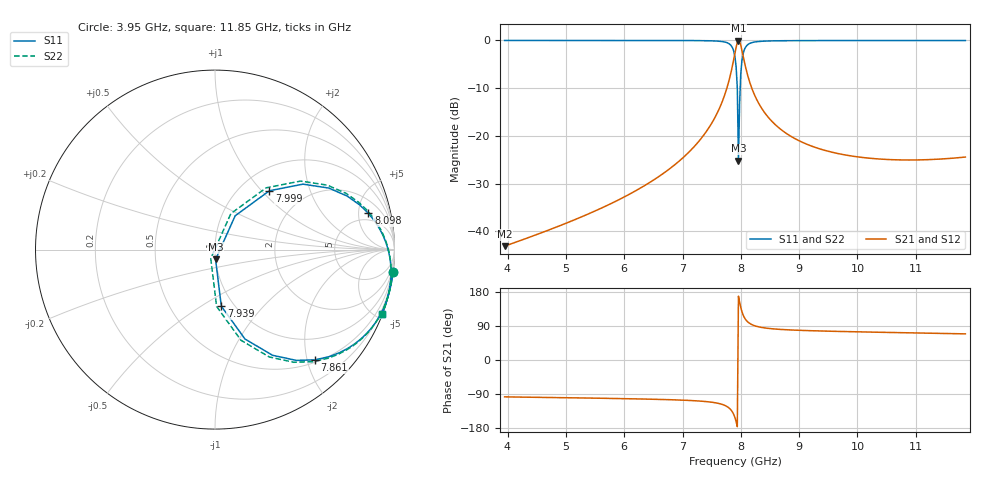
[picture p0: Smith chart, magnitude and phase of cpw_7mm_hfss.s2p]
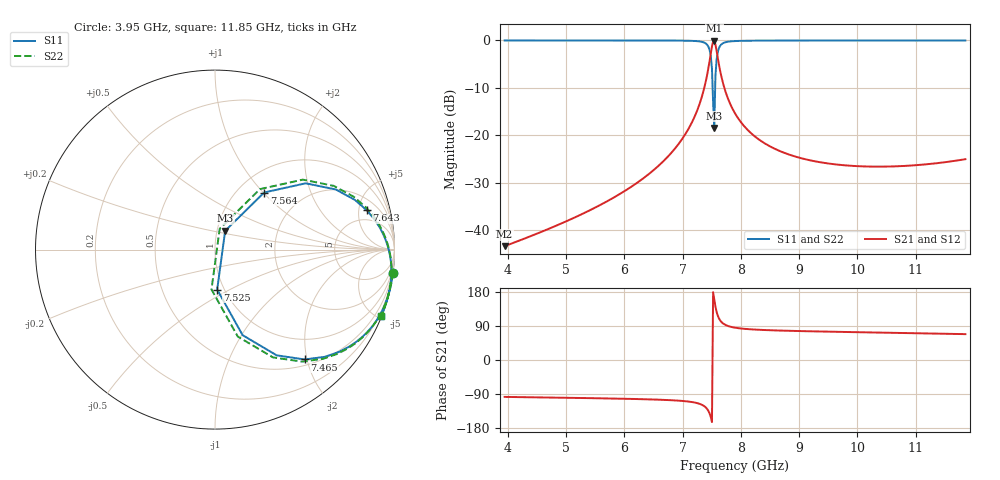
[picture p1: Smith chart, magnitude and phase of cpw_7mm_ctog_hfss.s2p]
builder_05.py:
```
#!/usr/bin/env python3
"""Build, execute, and install tutorials/05_compare_to_simulations.ipynb.

Tutorial 5: "Comparing a Circuit Model to a Full-Wave Simulation". This version
loads a **real HFSS export** (results/cpw_7mm_hfss.s2p) — a 7 mm CPW resonator
with two 50 fF coupling capacitors, no line-to-ground capacitance, and two 50 Ohm
ports — and compares it against the CPW ground-truth network and the Optimized
lumped model. It also draws the device with the schematics feature. A closing
section repeats the identical comparison across four more HFSS exports of the
same resonator (grounds included, stronger coupling, asymmetric coupling,
weaker asymmetric coupling) and condenses everything into one summary table and
a linewidth parity plot.

Runtime note: five OptimizedFits plus the network builds — the whole notebook
executes in about a minute.
"""
from __future__ import annotations

import os
import shutil
import sys
from pathlib import Path

import nbformat
from nbclient import NotebookClient
from nbformat.v4 import new_code_cell, new_markdown_cell, new_notebook

REPO = Path(__file__).resolve().parents[1]
TUT = REPO / "tutorials"
DOCS = REPO / "docs" / "tutorials"
BASENAME = "05_compare_to_simulations.ipynb"


def md(source: str):
    return new_markdown_cell(source.strip("\n") + "\n")


def code(source: str):
    return new_code_cell(source.strip("\n") + "\n")


CELLS = [
    md(r"""
# Tutorial 5: Comparing a Circuit Model to a Full-Wave Simulation

Circuit-level models used in **simpleLOMs** can reliably reproduce what a full-wave EM solver actually gives you.

In FEM simulations, a **Touchstone** file (eg. `.s2p`) is generated containing the S-parameters of a device for a range of frequencies. This tutorial shows you how to run comparisons of circuit-level models to touchstone models using a touchstone file generated using HFSS. 

In this tutorial you will learn how to 

1. read the Touchstone reference with `scikit-rf`,
2. draw the device with the `schematics` feature (this requires knowledge of what geometry you simulated)
3. build the distributed circuit-level model using CPWs, and fit the **Optimized** lumped model,
4. overlay all three responses and quantify the residual,
5. repeat the identical comparison across a catalog of five HFSS exports spanning
   weak to very strong coupling, symmetric and asymmetric.
"""),

    code(r"""
import warnings
warnings.filterwarnings("ignore")

import numpy as np
import matplotlib.pyplot as plt
import skrf as rf

import simpleLOMs as sl

sl.apply_style()
"""),

    md(r"""
The reference file `results/cpw_7mm_hfss.s2p` was exported from HFSS for a
**7 mm CPW resonator** with a **50 fF** coupling capacitor at each end
($C_\mathrm{tog}=0$), driven through **two 50 Ω ports**. We first need to give `simpleLOMs` these same parameters, so the FEM curve and the circuit model describe the same device.
"""),

    code(r"""
# Device parameters
cpw  = sl.CPWParams(ep_r=11.45)          # ultracold silicon
d    = 7e-3                           # 7 mm resonator line
Cc   = 50e-15                         # 0.05 pF coupler on each port
Ctog = 0.0                            # no line-to-ground capacitance
"""),

    md(r"""
## 1. Read the Touchstone reference

`simpleLOMs` is built on `scikit-rf` which reads the `.s2p` into a `Network` object, which is the same object that `simpleLOMs` circuit models use. We take the frequency
grid from the file itself, so every model below is evaluated on the same
points as the FEM data.
"""),

    code(r"""
ref  = rf.Network("results/cpw_7mm_hfss.s2p")     # <-- your FEM / measured file
freq = ref.frequency                              # reuse the file's frequency grid
f    = freq.f / 1e9                               # GHz, for plotting

print("loaded:", ref)
print("frequency: {:.3f} - {:.3f} GHz, {} points".format(f[0], f[-1], len(f)))
"""),

    md(r"""
## 2. (Optional) Draw the device

It is important to confirm that the device that you will simulate at the circuit level reflects the actual FEM output.

To do this, use   `schematics` to  generate a diagram with the device parameters we already passed to `CPWParams`
labelled. This is the circuit topology we are comparing against the FEM export.

for this specific system, the topology is: `P1 — Cc — CPW — Cc — P2`
"""),

    code(r"""
from pathlib import Path
figdir = Path("figures")
figdir.mkdir(exist_ok=True)

sch = sl.cpw_schematic_2port(
    d, Cc, Cc, Ctog, Ctog,
    cpw_params=cpw, freq=freq, Z0=50,
    annotations={"length_mm": d * 1e3, "Cc_fF": Cc * 1e15, "Ctog_fF": Ctog * 1e15},
)

# (optional) save the schematic as a vector graphic and interactive HTML.
sch.save_svg(figdir / "cpw_7mm.svg")
sch.save_html(figdir / "cpw_7mm.html")
sch
"""),

    md(r"""
## 3. Build the distributed circuit model and fit the Optimized model

We have two options for representing the FEM network. 

In the first option we build the CPW distributed network. In the second option, we fit the **Optimized** model to the distributed network. Both are evaluated on the file's
frequency grid. This allows the user to construct either a distributed circuit model of the FEM output or an entirely lumped model of the output.
"""),

    md(r"""
### Distributed network
"""),

    code(r"""
cpw_net = sl.cpw_resonator_network_2port(freq, d, Cc, Cc, Ctog, Ctog, cpw_params=cpw, Z0=50)
"""),

    md(r"""
### Lumped network
"""),

    code(r"""
opt     = sl.fit_lom(d, model="optimized", Cc=Cc, Ctog=Ctog,
                  cpw_params=cpw, freq=freq, return_model=True)
net_opt = opt.get_network(freq, Cc, Cc, Z0=50, Ctog1=Ctog, Ctog2=Ctog)

print("Optimized LOM:  L = {:.4f} nH   C = {:.2f} fF".format(opt.L * 1e9, opt.C * 1e15))
"""),

    md(r"""
## 4. Overlay the transmission

Now that we have constructed all relevant networks, we can compare them by plotting $|S_{21}|$ in dB for the HFSS reference, the CPW ground truth, and the Optimized LOM.
"""),

    code(r"""
f0_ref, _ = sl.circle_fit_f0_kappa_windowed(ref, 1, 0)
fc = f0_ref / 1e9

sl.plot_transmission(
    {
        "HFSS reference": ref,
        "CPW ground truth": cpw_net,
        "Optimized LOM": net_opt,
    },
    m=1, n=0,
    panels="zoom",
    center=fc,
    half_width=0.35,
    save_path=str(figdir / "s21_overlay.png"),
)
"""),

    md(r"""
## 5. Quantify the agreement

We now extract $f_0$ and $\kappa$ from each network with
`circle_fit_f0_kappa_windowed`, the variant of the circle fit meant
for data on a fixed frequency grid.

The same extractor is applied to the model networks, which are evaluated on the same
grid, so every row of the table is directly comparable. Typical Touchstone files from a
driven modal simulation can have a grid size of only 401 points, so both $f_0$ and
$\kappa$ are refined to sub-grid accuracy, so that the reported $\Delta f$ reflects the
true model–FEM offset rather than the spacing of the FEM frequency sweep.
"""),

    code(r"""
win = np.abs(f - f0_ref / 1e9) < 0.5
s21_ref = sl.s_db(ref, 1, 0)

rows = [
    ("HFSS ref",
     "{:.4f}".format(f0_ref / 1e9),
     "{:.3f}".format(sl.circle_fit_f0_kappa_windowed(ref, 1, 0)[1] / 1e6),
     "--", "--"),
]
for name, net in (("CPW", cpw_net), ("Optimized", net_opt)):
    f0, k = sl.circle_fit_f0_kappa_windowed(net, 1, 0)
    dres = np.abs(sl.s_db(net, 1, 0) - s21_ref)[win].max()
    rows.append((
        name,
        "{:.4f}".format(f0 / 1e9),
        "{:.3f}".format(k / 1e6),
        "{:+.3f}".format(100 * (f0 - f0_ref) / f0_ref),
        "{:.3f}".format(dres),
    ))

print(sl.utils.format_comparison_table(
    rows,
    ["model", "f0 (GHz)", "kappa (MHz)", "df (%)", "max|dS21| (dB)"],
))
"""),

    code(r"""
sl.plot_s_residual(
    {"CPW - HFSS": cpw_net, "Optimized - HFSS": net_opt},
    ref,
    m=1, n=0,
    xlim=(fc - 0.5, fc + 0.5),
    save_path=str(figdir / "s21_residual.png"),
)
"""),

    md(r"""
## 6. Stress test: one workflow, five coupling regimes

The walkthrough above used the mildest device. The same recipe to fit LOMs and
extract $f_0$ and $\kappa$ for finite element models applies unchanged to any port loading,
so we can stress the models across various coupling regimes. `results/` ships four more
HFSS exports of the same 7 mm resonator, going from moderately to very strongly coupled.
"""),

    code(r"""
configs = [
    ("Coupling caps only",  "results/cpw_7mm_hfss.s2p",           50e-15,  50e-15,    0.0),
    ("Grounds included",    "results/cpw_7mm_ctog_hfss.s2p",      50e-15,  50e-15, 40e-15),
    ("Stronger coupling",   "results/cpw_7mm_cc100_hfss.s2p",    100e-15, 100e-15, 40e-15),
    ("Asymmetric coupling", "results/cpw_7mm_cc50_100_hfss.s2p",  50e-15, 100e-15, 40e-15),
    ("Weaker asymmetric",   "results/cpw_7mm_cc20_50_hfss.s2p",   20e-15,  50e-15, 40e-15),
]

summary = []
kappa_MHz = {}    # label -> (HFSS, CPW, Optimized)
for label, path, Cc1, Cc2, Ct in configs:
    ref_i  = rf.Network(path)
    freq_i = ref_i.frequency
    cpw_i  = sl.cpw_resonator_network_2port(freq_i, d, Cc1, Cc2, Ct, Ct,
                                            cpw_params=cpw, Z0=50)
    opt_i  = sl.fit_lom(d, model="optimized", Cc1=Cc1, Cc2=Cc2, Ctog=Ct,
                        cpw_params=cpw, return_model=True)
    net_i  = opt_i.get_network(freq_i, Cc1, Cc2, Z0=50, Ctog1=Ct, Ctog2=Ct)

    f0_r, k_r = sl.circle_fit_f0_kappa_windowed(ref_i, 1, 0)
    f0_c, k_c = sl.circle_fit_f0_kappa_windowed(cpw_i, 1, 0)
    f0_o, k_o = sl.circle_fit_f0_kappa_windowed(net_i, 1, 0)

    kappa_MHz[label] = (k_r / 1e6, k_c / 1e6, k_o / 1e6)
    summary.append((
        label,
        "{:.4f}".format(f0_r / 1e9),
        "{:.1f}".format(k_r / 1e6),
        "{:+.3f}".format(100 * (f0_c - f0_r) / f0_r),
        "{:+.2f}".format(100 * (k_c - k_r) / k_r),
        "{:+.3f}".format(100 * (f0_o - f0_r) / f0_r),
        "{:+.2f}".format(100 * (k_o - k_r) / k_r),
    ))

print(sl.utils.format_comparison_table(
    summary,
    ["config", "f0 (GHz)", "kappa (MHz)",
     "df CPW (%)", "dk CPW (%)", "df Opt (%)", "dk Opt (%)"],
))
"""),

    md(r"""
We can also plot a parity plot of the linewidth values for the FEMs to see how well
the models track the HFSS reference across all five coupling regimes.
"""),

    code(r"""
fig, ax = plt.subplots(
    figsize=(sl.FIGURE_WIDTH_1COL, sl.FIGURE_HEIGHT_1COL_GR), layout="constrained"
)

k_r = np.array([kappa_MHz[label][0] for label, *_ in configs])
k_c = np.array([kappa_MHz[label][1] for label, *_ in configs])
k_o = np.array([kappa_MHz[label][2] for label, *_ in configs])

lim = (0.8 * k_r.min(), 1.12 * k_r.max())
ax.plot(lim, lim, ls="--", lw=1.0, color="0.55", zorder=1)
ax.scatter(k_r, k_c, s=42, color=sl.MODEL_COLORS["cpw"],
           label="CPW ground truth", zorder=3)
ax.scatter(k_r, k_o, s=42, marker="s", facecolors="none",
           edgecolors=sl.MODEL_COLORS["optimized"], linewidths=1.4,
           label="Optimized LOM", zorder=3)
# Label beside each point: the half-plane off the diagonal is empty, so text
# placed to the right (or left, near the right edge) never hits data.
for x, (label, *_rest) in zip(k_r, configs):
    right = x < 0.75 * lim[1]
    ax.annotate(label, (x, x),
                xytext=(10, -3) if right else (-10, -3),
                textcoords="offset points", fontsize=7, color="0.35",
                ha="left" if right else "right", va="center")

ax.set_xlim(lim)
ax.set_ylim(lim)
ax.set_xlabel(sl.axis_label("HFSS linewidth", r"\kappa_\mathrm{HFSS}", "MHz"))
ax.set_ylabel(sl.axis_label("Model linewidth", r"\kappa_\mathrm{model}", "MHz"))
ax.legend(loc="upper left")

fig.savefig(figdir / "kappa_parity.png", dpi=200)
"""),

    md(r"""
## Notes

- Across all five coupling regimes both models land on the HFSS resonance to
  within $0.5\%$ in $f_0$ and $\sim 2\%$ in $\kappa$ — while $\kappa$ itself
  varies by more than $4\times$.
- **To use your own data:** drop your `.s2p` in `results/`, point
  `rf.Network(...)` at it, and set `d`, `Cc`, `Ctog`, and `CPWParams` to match the
  simulated geometry. If your port ordering differs, adjust the `(m, n)` indices
  passed to `circle_fit_f0_kappa_windowed` and the `s[:, 1, 0]` slice accordingly.
"""),
]


def build_and_execute():
    os.environ.setdefault("MPLBACKEND", "Agg")
    os.environ.setdefault("PYTHONUNBUFFERED", "1")

    nb = new_notebook(
        cells=CELLS,
        metadata={
            "kernelspec": {
                "display_name": "Python 3",
                "language": "python",
                "name": "python3",
            },
            "language_info": {"name": "python", "pygments_lexer": "ipython3"},
        },
    )

    bootstrap = new_code_cell(
        "import sys, os\n"
        "os.environ.pop('MPLBACKEND', None)\n"
        f"sys.path.insert(0, r'{REPO / 'src'}')\n"
        "get_ipython().run_line_magic('matplotlib', 'inline')\n"
        "print('bootstrap ok', flush=True)\n"
    )
    nb.cells.insert(0, bootstrap)

    print("Executing notebook (five HFSS exports, five OptimizedFits)...", flush=True)
    client = NotebookClient(
        nb,
        timeout=600,
        kernel_name="python3",
        allow_errors=True,
        resources={"metadata": {"path": str(TUT)}},
    )
    try:
        client.execute()
        print("execute() finished", flush=True)
    except Exception as exc:
        print(f"execute() raised: {type(exc).__name__}: {exc}", flush=True)

    nb.cells.pop(0)

    out = TUT / BASENAME
    with out.open("w", encoding="utf-8") as f:
        nbformat.write(nb, f)
    print(f"Wrote {out}", flush=True)

    DOCS.mkdir(parents=True, exist_ok=True)
    shutil.copy2(out, DOCS / BASENAME)
    print(f"Copied to {DOCS / BASENAME}", flush=True)

    errors = []
    for i, cell in enumerate(nb.cells):
        if cell.cell_type != "code":
            continue
        for o in cell.get("outputs", []):
            if o.get("output_type") == "error":
                errors.append((i, o.get("ename"), o.get("evalue")))
    if errors:
        print("ERRORS:", flush=True)
        for e in errors:
            print(" ", e, flush=True)
        sys.exit(1)
    print("OK — no cell errors.", flush=True)


if __name__ == "__main__":
    build_and_execute()
```
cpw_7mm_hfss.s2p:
! Touchstone file exported from HFSS 2025.2.0
!  File:  D:/lfl/Documents/Ansoft/06082026_005pf.aedt
!  Generated:  01:29:57 PM Jul 18, 2026
!  Design:  cpw_7mm
!  Project:  06082026_005pf
!  Setup:  Setup1
!  Solution:  Sweep
# GHz S MA R 50.000000
! Terminal data exported
! Port[1] = 1
! Port[2] = 2
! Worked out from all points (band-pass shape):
!   401 points, 3.95 GHz to 11.85 GHz, reference 50 ohm
!   highest |S21| = -0.01 dB at 7.959 GHz (marker M1); lowest = -43.1 dB at 3.95 GHz (marker M2)
!   |S21| within 3 dB of the highest: 7.893 GHz to 8.035 GHz (141.8 MHz wide, 1.78 % of centre)
!   lowest |S11| = -25.2 dB at 7.959 GHz (marker M3), VSWR 1.12, Z = 50 - j5.52 ohm
!   |S11| at or under -10 dB: 7.94 GHz to 7.989 GHz (49.62 MHz wide, 0.623 % of centre)
!   |S22| runs from -25.2 to 0.0 dB; largest |S21 - S12| = 2.5e-10
!   S11 on the Smith chart (normalised r, x): 3.95 GHz: 0, -16; 7.861 GHz: 0.55, -2.14; 7.939 GHz: 0.87, -0.61; 7.999 GHz: 1.35, +1.11; 8.098 GHz: 3.68, +6.51; 11.85 GHz: 0.03, -5.38
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3.95  1 -7.3  0.006992 -97.3  0.006992 -97.3  1 -7.3
! Gamma 0 0 0 0
! Port Impedance 50 0 50 0
6.85325  0.9988 -15.1  0.04905 -105.1  0.04905 -105.1  0.9988 -15.1
7.64325  0.9797 -25.3  0.2008 -115.5  0.2008 -115.5  0.9797 -25.6
7.8605  0.8293 -47.8  0.5589 -138.3  0.5589 -138.3  0.8293 -48.8
7.9  0.6704 -61.4  0.742 -152.3  0.742 -152.3  0.6704 -63.2
7.9395  0.317 -83.6  0.9484 -176.0  0.9484 -176.0  0.317 -88.3
7.95925  0.05513 -86.7  0.9985 168.5  0.9985 168.5  0.05498 -115.6
7.99875  0.4469 47.2  0.8943 138.8  0.8943 138.8  0.4469 50.4
8.0975  0.8779 13.3  0.4783 103.8  0.4783 103.8  0.8779 14.2
9.164  0.9967 -12.6  0.08027 77.5  0.08027 77.5  0.9967 -12.5
11.85  0.9982 -21.1  0.06004 69.0  0.06004 69.0  0.9982 -21.0
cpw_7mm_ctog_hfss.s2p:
! Touchstone file exported from HFSS 2025.2.0
!  File:  D:/lfl/Documents/Ansoft/06082026_005pf.aedt
!  Generated:  05:11:26 PM Jul 18, 2026
!  Design:  cpw_7mm1
!  Project:  06082026_005pf
!  Setup:  Setup1
!  Solution:  Sweep
# GHz S MA R 50.000000
! Terminal data exported
! Port[1] = 1
! Port[2] = 2
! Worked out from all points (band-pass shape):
!   401 points, 3.95 GHz to 11.85 GHz, reference 50 ohm
!   highest |S21| = -0.06 dB at 7.545 GHz (marker M1); lowest = -43.4 dB at 3.95 GHz (marker M2)
!   |S21| within 3 dB of the highest: 7.481 GHz to 7.596 GHz (115.5 MHz wide, 1.53 % of centre)
!   lowest |S11| = -18.5 dB at 7.545 GHz (marker M3), VSWR 1.27, Z = 54.7 + j11.6 ohm
!   |S11| at or under -10 dB: 7.516 GHz to 7.56 GHz (43.6 MHz wide, 0.578 % of centre)
!   |S22| runs from -18.5 to 0.0 dB; largest |S21 - S12| = 1.2e-09
!   S11 on the Smith chart (normalised r, x): 3.95 GHz: 0, -15; 7.465 GHz: 0.60, -1.96; 7.525 GHz: 0.93, -0.43; 7.564 GHz: 1.31, +1.01; 7.643 GHz: 3.31, +6.13; 11.85 GHz: 0.02, -5.20
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3.95  1 -7.4  0.006752 -97.4  0.006752 -97.4  1 -7.4
! Gamma 0 0 0 0
! Port Impedance 50 0 50 0
6.57675  0.9989 -14.6  0.04685 -104.6  0.04685 -104.6  0.9989 -14.6
7.28775  0.9778 -25.2  0.2096 -115.4  0.2096 -115.4  0.9778 -25.6
7.4655  0.7902 -50.8  0.6128 -141.5  0.6128 -141.5  0.7902 -52.2
7.52475  0.2229 -86.9  0.9748 179.1  0.9748 179.1  0.2229 -95.1
7.5445  0.1189 61.6  0.9929 159.4  0.9929 159.4  0.119 77.3
7.56425  0.4196 49.3  0.9077 141.3  0.9077 141.3  0.4196 53.4
7.64325  0.8743 14.5  0.4855 105.0  0.4855 105.0  0.8743 15.5
7.9  0.9854 -4.9  0.1703 85.2  0.1703 85.2  0.9854 -4.6
9.243  0.9986 -14.5  0.05348 75.6  0.05348 75.6  0.9986 -14.4
11.85  0.9984 -21.8  0.05589 68.3  0.05589 68.3  0.9984 -21.7
